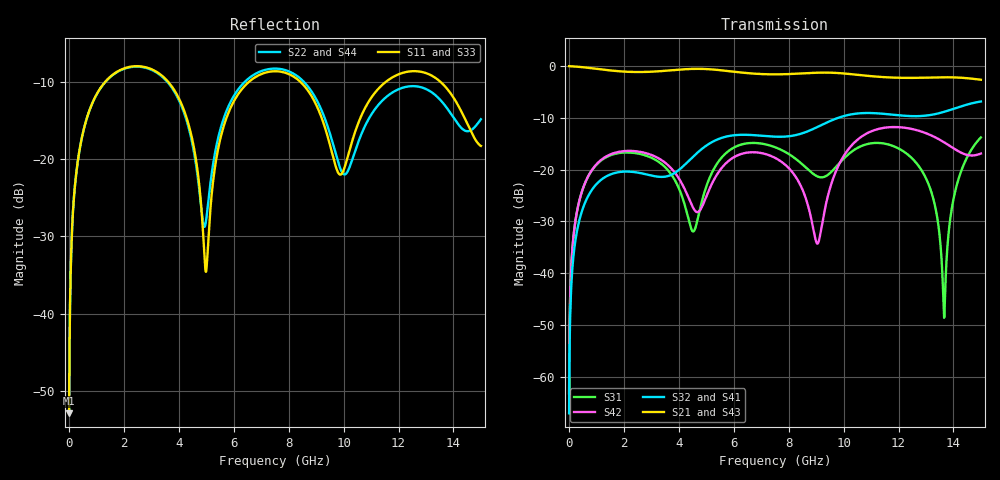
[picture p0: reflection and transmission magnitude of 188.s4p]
! Created with skrf 1.8.0 (http://scikit-rf.org).
# GHz S RI R 50.0
!freq ReS11 ImS11 ReS12 ImS12 ReS13 ImS13
! ReS14 ImS14
! ReS21 ImS21 ReS22 ImS22 ReS23 ImS23
! ReS24 ImS24
! ReS31 ImS31 ReS32 ImS32 ReS33 ImS33
! ReS34 ImS34
! ReS41 ImS41 ReS42 ImS42 ReS43 ImS43
! ReS44 ImS44
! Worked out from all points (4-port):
!   2499 points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, 5 MHz to 15 GHz, reference 50 ohm
!   strongest paths, dB at 5 MHz, 3.476 GHz, 7.19 GHz, 11.1 GHz, 15 GHz:
!     S21: 0.0, -0.9, -1.6, -2.0, -2.6
!     S43: 0.0, -0.9, -1.6, -2.0, -2.6
!     S32: -67.1, -21.4, -13.5, -9.1, -6.8
!     S41: -67.1, -21.4, -13.5, -9.1, -6.8
!     S42: -63.2, -18.6, -17.0, -12.4, -16.9
!     S31: -63.2, -19.4, -15.2, -14.9, -13.8
!   lowest |S11| = -52.9 dB at 5 MHz (marker M1), VSWR 1.00, Z = 50.2 + j0.139 ohm
!   |S11| at or under -10 dB: 3.603 GHz to 6.566 GHz (2.963 GHz wide, 58.3 % of centre); 8.415 GHz to 11.55 GHz (3.137 GHz wide, 31.4 % of centre); 13.52 GHz to end of sweep (the widest 3 of 4)
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0.005  0.00181 0.00138  0.9982 -0.00352  9.02e-05 0.000684  -8.79e-05 -0.000435
       0.9982 -0.00352  0.00181 0.00138  -8.79e-05 -0.000435  9.04e-05 0.000684
       9.02e-05 0.000684  -8.79e-05 -0.000435  0.00181 0.00138  0.9982 -0.00352
       -8.79e-05 -0.000435  9.04e-05 0.000684  0.9982 -0.00352  0.00181 0.00138
0.3626511  0.0358 0.1023  0.9507 -0.2508  0.016 0.0456  -0.0137 -0.0281
           0.9507 -0.2508  0.0357 0.1023  -0.0137 -0.0281  0.0169 0.0453
           0.016 0.0456  -0.0137 -0.0281  0.0358 0.1023  0.9506 -0.2508
           -0.0137 -0.0281  0.0169 0.0453  0.9506 -0.2508  0.0357 0.1023
1.825761  0.3507 0.1243  0.3462 -0.8212  0.1402 0.0359  -0.091 0.0257
          0.3462 -0.8212  0.3474 0.1281  -0.0911 0.0258  0.1476 0.0179
          0.1402 0.0359  -0.0911 0.0258  0.3506 0.1244  0.3462 -0.8213
          -0.091 0.0257  0.1476 0.0179  0.3462 -0.8213  0.3474 0.1281
4.983326  0.0186 -0.00149  -0.9354 -0.0421  0.0409 0.0526  -0.00344 0.1693
          -0.9354 -0.0421  0.0372 0.0118  -0.00222 0.1693  -0.0273 0.0461
          0.0409 0.0526  -0.00222 0.1693  0.02 -0.000758  -0.9354 -0.0417
          -0.00344 0.1693  -0.0273 0.0461  -0.9354 -0.0417  0.0357 0.0125
7.640684  0.3673 -0.0143  -0.00984 0.8324  0.1143 -0.1108  0.2015 -0.049
          -0.00984 0.8324  0.3808 -0.032  0.2014 -0.0511  0.1101 -0.0568
          0.1143 -0.1108  0.2014 -0.0511  0.3694 -0.0156  -0.00976 0.8315
          0.2015 -0.049  0.1101 -0.0568  -0.00976 0.8315  0.3833 -0.0306
13.66194  0.2552 -0.1548  -0.3922 -0.6736  -0.00283 -0.00239  -0.3097 0.1873
          -0.3922 -0.6736  0.2149 -0.0671  -0.306 0.1931  -0.0683 -0.1704
          -0.00283 -0.00239  -0.306 0.1931  0.2551 -0.1578  -0.3919 -0.6733
          -0.3097 0.1873  -0.0683 -0.1704  -0.3919 -0.6733  0.2164 -0.0667
15  0.1155 -0.0374  -0.7264 -0.1327  0.0458 0.1997  -0.0788 0.4483
    -0.7264 -0.1327  0.1726 0.0529  -0.0704 0.4497  -0.0771 0.1204
    0.0458 0.1997  -0.0704 0.4497  0.1145 -0.0408  -0.7263 -0.1327
    -0.0788 0.4483  -0.0771 0.1204  -0.7263 -0.1327  0.1728 0.054
